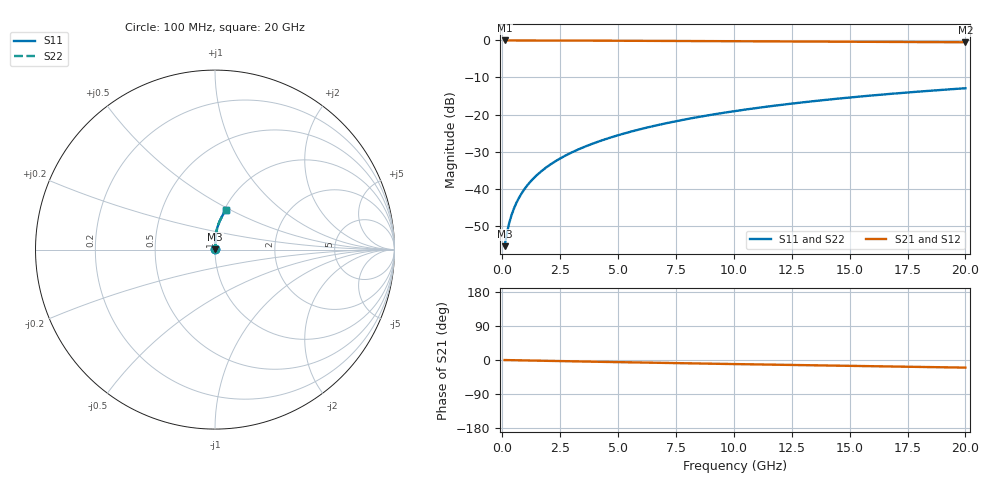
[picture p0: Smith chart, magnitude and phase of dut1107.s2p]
! Touchstone file exported from HFSS 2024.1.0
!  File:  C:/UserFiles/LocalFiles/RDL_TSV_Batchsim/temp_RDL_top_1107_1780046556.aedt
!  Generated:  05:24:41 PM May 29, 2026
!  Design:  RDL_top
!  Project:  temp_RDL_top_1107_1780046556
!  Setup:  Setup1
!  Solution:  Sweep
! Variables:
!  dtsv = 10.80580581um
!  hbump = 3um
!  htsv = 57.31um
!  ldown = 100um
!  lrdl = 243.51um
!  p = 40
!  p1 = 53.44um
!  rhole = 1um
!  t = 450um
!  tdown = 3.915915916um
!  trdl = 3.72um
!  wdown = 15.38538539um
!  wrdl = 21.55um
# GHz S MA R 50.000000
! Terminal data exported
! Port[1] = Box2_T1
! Port[2] = Box2_T2
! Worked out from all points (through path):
!   200 points, 100 MHz to 20 GHz, reference 50 ohm
!   highest |S21| = -0.01 dB at 100 MHz (marker M1); lowest = -0.5 dB at 20 GHz (marker M2)
!   group delay of S21, straight-line fit = 2.76 ps
!   lowest |S11| = -55.5 dB at 100 MHz (marker M3), VSWR 1.00, Z = 50.1 + j0.109 ohm
!   |S11| at or under -10 dB: start of sweep to end of sweep
!   |S22| runs from -55.5 to -12.9 dB; largest |S21 - S12| = 2.6e-15
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0.1  0.001677 40.5  0.9987 -0.1  0.9987 -0.1  0.001677 40.5
! Gamma 0 0 0 0
! Port Impedance 50 0 50 0
0.2  0.002524 58.3  0.9987 -0.2  0.9987 -0.2  0.002524 58.3
0.3  0.003459 66.5  0.9986 -0.4  0.9986 -0.4  0.003459 66.5
0.4  0.004413 71.2  0.9985 -0.5  0.9985 -0.5  0.004413 71.2
0.5  0.005376 74.4  0.9984 -0.6  0.9984 -0.6  0.005376 74.4
0.6  0.006347 76.6  0.9984 -0.7  0.9984 -0.7  0.006347 76.6
0.8  0.008307 79.7  0.9982 -0.9  0.9982 -0.9  0.008307 79.7
1.1  0.01128 82.5  0.998 -1.3  0.998 -1.3  0.01128 82.5
1.5  0.01531 84.5  0.9976 -1.7  0.9976 -1.7  0.01531 84.5
1.8  0.01836 85.5  0.9972 -2.1  0.9972 -2.1  0.01836 85.5
2.1  0.02143 86.2  0.9968 -2.4  0.9968 -2.4  0.02143 86.2
2.7  0.02767 87.2  0.9957 -3.1  0.9957 -3.1  0.02767 87.2
3.5  0.03615 87.8  0.9941 -4.0  0.9941 -4.0  0.03615 87.8
4.2  0.04374 88.1  0.9924 -4.8  0.9924 -4.8  0.04374 88.1
5  0.05259 88.1  0.9903 -5.6  0.9903 -5.6  0.05259 88.1
5.9  0.06277 87.8  0.9877 -6.6  0.9877 -6.6  0.06277 87.8
6.8  0.07312 87.4  0.9851 -7.5  0.9851 -7.5  0.07312 87.4
8.4  0.09186 86.3  0.9803 -9.1  0.9803 -9.1  0.09186 86.3
10.1  0.112 84.8  0.9751 -10.8  0.9751 -10.8  0.112 84.8
13.4  0.1511 81.5  0.9651 -14.0  0.9651 -14.0  0.1511 81.5
16.7  0.1894 78.0  0.9548 -17.1  0.9548 -17.1  0.1894 78.0
20  0.2264 74.6  0.9442 -20.1  0.9442 -20.1  0.2264 74.6
